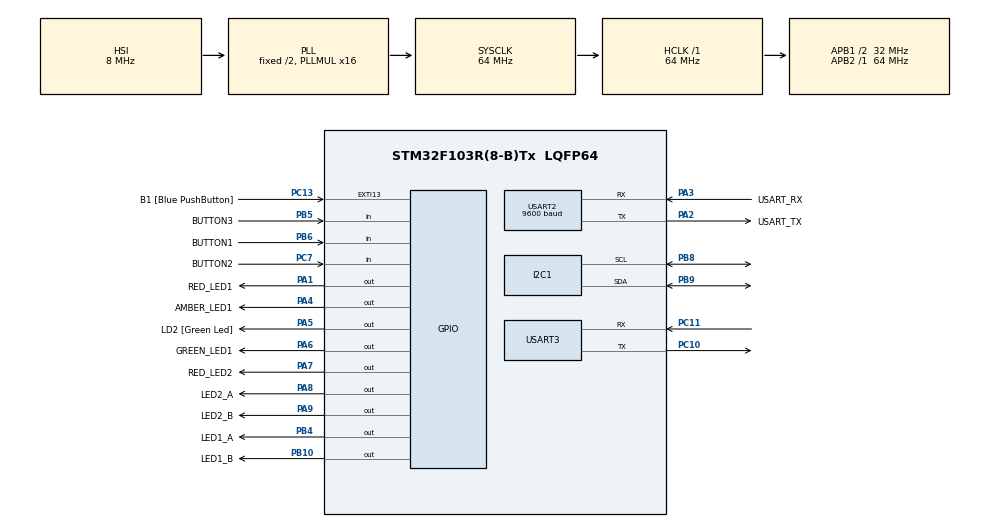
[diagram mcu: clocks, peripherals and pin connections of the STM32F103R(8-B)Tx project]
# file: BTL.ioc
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Mcu.Family=STM32F1
Mcu.Name=STM32F103R(8-B)Tx
Mcu.Package=LQFP64
NVIC.EXTI15_10_IRQn=true\:0\:0\:false\:false\:true\:true\:true
NVIC.PriorityGroup=NVIC_PRIORITYGROUP_4
NVIC.TIM2_IRQn=true\:0\:0\:false\:false\:true\:true\:true
NVIC.USART3_IRQn=true\:0\:0\:false\:false\:true\:true\:true
PA1.GPIO_Label=RED_LED1
PA1.Signal=GPIO_Output
PA13.GPIO_Label=TMS
PA13.Mode=Serial_Wire
PA13.Signal=SYS_JTMS-SWDIO
PA14.GPIO_Label=TCK
PA14.Mode=Serial_Wire
PA14.Signal=SYS_JTCK-SWCLK
PA2.GPIO_Label=USART_TX
PA2.GPIO_Mode=GPIO_MODE_AF_PP
PA2.GPIO_PuPd=GPIO_NOPULL
PA2.GPIO_Speed=GPIO_SPEED_FREQ_LOW
PA2.Mode=Asynchronous
PA2.Signal=USART2_TX
PA3.GPIO_Label=USART_RX
PA3.GPIO_Mode=GPIO_MODE_AF_PP
PA3.GPIO_PuPd=GPIO_NOPULL
PA3.GPIO_Speed=GPIO_SPEED_FREQ_LOW
PA3.Mode=Asynchronous
PA3.Signal=USART2_RX
PA4.GPIO_Label=AMBER_LED1
PA4.Signal=GPIO_Output
PA5.GPIO_Label=LD2 [Green Led]
PA5.GPIO_ModeDefaultOutputPP=GPIO_MODE_OUTPUT_PP
PA5.GPIO_PuPd=GPIO_NOPULL
PA5.GPIO_Speed=GPIO_SPEED_FREQ_LOW
PA5.Signal=GPIO_Output
PA6.GPIO_Label=GREEN_LED1
PA6.Signal=GPIO_Output
PA7.GPIO_Label=RED_LED2
PA7.Signal=GPIO_Output
PA8.GPIO_Label=LED2_A
PA8.Signal=GPIO_Output
PA9.GPIO_Label=LED2_B
PA9.Signal=GPIO_Output
PB10.GPIO_Label=LED1_B
PB10.Signal=GPIO_Output
PB3.GPIO_Label=SWO
PB3.Signal=SYS_JTDO-TRACESWO
PB4.GPIO_Label=LED1_A
PB4.Signal=GPIO_Output
PB5.GPIO_Label=BUTTON3
PB5.GPIO_PuPd=GPIO_PULLUP
PB5.Signal=GPIO_Input
PB6.GPIO_Label=BUTTON1
PB6.GPIO_PuPd=GPIO_PULLUP
PB6.Signal=GPIO_Input
PB8.Mode=I2C
PB8.Signal=I2C1_SCL
PB9.Mode=I2C
PB9.Signal=I2C1_SDA
PC10.Mode=Asynchronous
PC10.Signal=USART3_TX
PC11.Mode=Asynchronous
PC11.Signal=USART3_RX
PC13-TAMPER-RTC.GPIO_Label=B1 [Blue PushButton]
PC13-TAMPER-RTC.GPIO_PuPd=GPIO_NOPULL
PC13-TAMPER-RTC.Signal=GPXTI13
PC14-OSC32_IN.Mode=LSE-External-Oscillator
PC14-OSC32_IN.Signal=RCC_OSC32_IN
PC15-OSC32_OUT.Mode=LSE-External-Oscillator
PC15-OSC32_OUT.Signal=RCC_OSC32_OUT
PC7.GPIO_Label=BUTTON2
PC7.GPIO_PuPd=GPIO_PULLUP
PC7.Signal=GPIO_Input
PD0-OSC_IN.Mode=HSE-External-Oscillator
PD0-OSC_IN.Signal=RCC_OSC_IN
PD1-OSC_OUT.Mode=HSE-External-Oscillator
PD1-OSC_OUT.Signal=RCC_OSC_OUT
ProjectManager.HeapSize=0x200
ProjectManager.StackSize=0x400
ProjectManager.TargetToolchain=STM32CubeIDE
RCC.AHBFreq_Value=64000000
RCC.APB1CLKDivider=RCC_HCLK_DIV2
RCC.APB1Freq_Value=32000000
RCC.APB1TimFreq_Value=64000000
RCC.APB2Freq_Value=64000000
RCC.APB2TimFreq_Value=64000000
RCC.HCLKFreq_Value=64000000
RCC.PLLMUL=RCC_PLL_MUL16
RCC.RTCClockSelection=RCC_RTCCLKSOURCE_LSE
RCC.SYSCLKFreq_VALUE=64000000
RCC.SYSCLKSource=RCC_SYSCLKSOURCE_PLLCLK
RCC.USBFreq_Value=64000000
TIM2.Period=9
TIM2.Prescaler=7999
USART2.BaudRate=9600
USART2.VirtualMode=VM_ASYNC
USART3.VirtualMode=VM_ASYNC
VP_TIM2_VS_ClockSourceINT.Mode=Internal
board=NUCLEO-F103RB

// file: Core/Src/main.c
/* USER CODE BEGIN Header */
/**
  ******************************************************************************
  * @file           : main.c
  * @brief          : Main program body
  ******************************************************************************
  * @attention
  *
  * <h2><center>&copy; Copyright (c) 2024 STMicroelectronics.
  * All rights reserved.</center></h2>
  *
  * This software component is licensed by ST under BSD 3-Clause license,
  * the "License"; You may not use this file except in compliance with the
  * License. You may obtain a copy of the License at:
  *                        opensource.org/licenses/BSD-3-Clause
  *
  ******************************************************************************
  */
/* USER CODE END Header */
#include "main.h"

/* USER CODE BEGIN Includes */
#include "global.h"
#include "System_FSM.h"
#include "scheduler.h"
#include "i2c-lcd.h"
#include "software_timer.h"
#include "button.h"
#include "UartRingbuffer_multi.h"
#include "ESP8266_HAL.h"
/* USER CODE END Includes */

I2C_HandleTypeDef hi2c1;

TIM_HandleTypeDef htim2;

UART_HandleTypeDef huart2;
UART_HandleTypeDef huart3;

void SystemClock_Config(void);
static void MX_GPIO_Init(void);
static void MX_USART2_UART_Init(void);
static void MX_I2C1_Init(void);
static void MX_TIM2_Init(void);
static void MX_USART3_UART_Init(void);

/* USER CODE BEGIN 0 */
char buffer[5];
/* USER CODE END 0 */

int main(void)
{

  /* MCU Configuration--------------------------------------------------------*/

  /* Reset of all peripherals, Initializes the Flash interface and the Systick. */
  HAL_Init();

  /* Configure the system clock */
  SystemClock_Config();

  /* Initialize all configured peripherals */
  MX_GPIO_Init();
  MX_USART2_UART_Init();
  MX_I2C1_Init();
  MX_TIM2_Init();
  MX_USART3_UART_Init();
  /* USER CODE BEGIN 2 */
  ESP_Init("Beckhcmut", "12345678");
  HAL_TIM_Base_Start_IT(&htim2);
  lcd_init();
  lcd_clear_display();
  HAL_Delay(50);

  SCH_Init();
  SCH_Add_Task(fsm_traffic, 50, 1);
//  SCH_Add_Task(clock_counter_traffic_update, 0, 1);
  SCH_Add_Task(fsm_switch_mode, 50, 1);
  SCH_Add_Task(fsm_traffic_auto_mode(), 50, 1);
  SCH_Add_Task(fsm_traffic_tunning_mode(), 50, 1);

  /* USER CODE END 2 */

  /* Infinite loop */
  /* USER CODE BEGIN WHILE */
  while (1)
  {
fsm_traffic_auto_mode();
fsm_traffic_tunning_mode();
fsm_switch_mode();
fsm_traffic();
	  SCH_Dispatch_Tasks();
//	  if(isButtonShortPressed(0)){
//		  lcd_clear_display();
//		  HAL_Delay(100);
//		  lcd_goto_XY(1, 0);
//		  lcd_send_string("acbca");
//	  }
//	  if(isButtonLongPressed(0)){
//		  lcd_clear_display();
//		  HAL_Delay(100);
//		  lcd_goto_XY(1, 0);
//		  lcd_send_string("vxcvxbf");
//	  }

    /* USER CODE END WHILE */

    /* USER CODE BEGIN 3 */
Server_Start();
  }
  /* USER CODE END 3 */
}

void SystemClock_Config(void)
{
  RCC_OscInitTypeDef RCC_OscInitStruct = {0};
  RCC_ClkInitTypeDef RCC_ClkInitStruct = {0};

  /** Initializes the RCC Oscillators according to the specified parameters
  * in the RCC_OscInitTypeDef structure.
  */
  RCC_OscInitStruct.OscillatorType = RCC_OSCILLATORTYPE_HSI;
  RCC_OscInitStruct.HSIState = RCC_HSI_ON;
  RCC_OscInitStruct.HSICalibrationValue = RCC_HSICALIBRATION_DEFAULT;
  RCC_OscInitStruct.PLL.PLLState = RCC_PLL_ON;
  RCC_OscInitStruct.PLL.PLLSource = RCC_PLLSOURCE_HSI_DIV2;
  RCC_OscInitStruct.PLL.PLLMUL = RCC_PLL_MUL16;
  if (HAL_RCC_OscConfig(&RCC_OscInitStruct) != HAL_OK)
  {
    Error_Handler();
  }
  /** Initializes the CPU, AHB and APB buses clocks
  */
  RCC_ClkInitStruct.ClockType = RCC_CLOCKTYPE_HCLK|RCC_CLOCKTYPE_SYSCLK
                              |RCC_CLOCKTYPE_PCLK1|RCC_CLOCKTYPE_PCLK2;
  RCC_ClkInitStruct.SYSCLKSource = RCC_SYSCLKSOURCE_PLLCLK;
  RCC_ClkInitStruct.AHBCLKDivider = RCC_SYSCLK_DIV1;
  RCC_ClkInitStruct.APB1CLKDivider = RCC_HCLK_DIV2;
  RCC_ClkInitStruct.APB2CLKDivider = RCC_HCLK_DIV1;

  if (HAL_RCC_ClockConfig(&RCC_ClkInitStruct, FLASH_LATENCY_2) != HAL_OK)
  {
    Error_Handler();
  }
}

static void MX_I2C1_Init(void)
{

  hi2c1.Instance = I2C1;
  hi2c1.Init.ClockSpeed = 100000;
  hi2c1.Init.DutyCycle = I2C_DUTYCYCLE_2;
  hi2c1.Init.OwnAddress1 = 0;
  hi2c1.Init.AddressingMode = I2C_ADDRESSINGMODE_7BIT;
  hi2c1.Init.DualAddressMode = I2C_DUALADDRESS_DISABLE;
  hi2c1.Init.OwnAddress2 = 0;
  hi2c1.Init.GeneralCallMode = I2C_GENERALCALL_DISABLE;
  hi2c1.Init.NoStretchMode = I2C_NOSTRETCH_DISABLE;
  if (HAL_I2C_Init(&hi2c1) != HAL_OK)
  {
    Error_Handler();
  }

}

static void MX_TIM2_Init(void)
{

  TIM_ClockConfigTypeDef sClockSourceConfig = {0};
  TIM_MasterConfigTypeDef sMasterConfig = {0};

  htim2.Instance = TIM2;
  htim2.Init.Prescaler = 7999;
  htim2.Init.CounterMode = TIM_COUNTERMODE_UP;
  htim2.Init.Period = 9;
  htim2.Init.ClockDivision = TIM_CLOCKDIVISION_DIV1;
  htim2.Init.AutoReloadPreload = TIM_AUTORELOAD_PRELOAD_DISABLE;
  if (HAL_TIM_Base_Init(&htim2) != HAL_OK)
  {
    Error_Handler();
  }
  sClockSourceConfig.ClockSource = TIM_CLOCKSOURCE_INTERNAL;
  if (HAL_TIM_ConfigClockSource(&htim2, &sClockSourceConfig) != HAL_OK)
  {
    Error_Handler();
  }
  sMasterConfig.MasterOutputTrigger = TIM_TRGO_RESET;
  sMasterConfig.MasterSlaveMode = TIM_MASTERSLAVEMODE_DISABLE;
  if (HAL_TIMEx_MasterConfigSynchronization(&htim2, &sMasterConfig) != HAL_OK)
  {
    Error_Handler();
  }

}

static void MX_USART2_UART_Init(void)
{

  huart2.Instance = USART2;
  huart2.Init.BaudRate = 9600;
  huart2.Init.WordLength = UART_WORDLENGTH_8B;
  huart2.Init.StopBits = UART_STOPBITS_1;
  huart2.Init.Parity = UART_PARITY_NONE;
  huart2.Init.Mode = UART_MODE_TX_RX;
  huart2.Init.HwFlowCtl = UART_HWCONTROL_NONE;
  huart2.Init.OverSampling = UART_OVERSAMPLING_16;
  if (HAL_UART_Init(&huart2) != HAL_OK)
  {
    Error_Handler();
  }

}

static void MX_USART3_UART_Init(void)
{

  huart3.Instance = USART3;
  huart3.Init.BaudRate = 115200;
  huart3.Init.WordLength = UART_WORDLENGTH_8B;
  huart3.Init.StopBits = UART_STOPBITS_1;
  huart3.Init.Parity = UART_PARITY_NONE;
  huart3.Init.Mode = UART_MODE_TX_RX;
  huart3.Init.HwFlowCtl = UART_HWCONTROL_NONE;
  huart3.Init.OverSampling = UART_OVERSAMPLING_16;
  if (HAL_UART_Init(&huart3) != HAL_OK)
  {
    Error_Handler();
  }

}

static void MX_GPIO_Init(void)
{
  GPIO_InitTypeDef GPIO_InitStruct = {0};

  /* GPIO Ports Clock Enable */
  __HAL_RCC_GPIOC_CLK_ENABLE();
  __HAL_RCC_GPIOD_CLK_ENABLE();
  __HAL_RCC_GPIOA_CLK_ENABLE();
  __HAL_RCC_GPIOB_CLK_ENABLE();

  /*Configure GPIO pin Output Level */
  HAL_GPIO_WritePin(GPIOA, RED_LED1_Pin|AMBER_LED1_Pin|LD2_Pin|GREEN_LED1_Pin
                          |RED_LED2_Pin|LED2_A_Pin|LED2_B_Pin, GPIO_PIN_RESET);

  /*Configure GPIO pin Output Level */
  HAL_GPIO_WritePin(GPIOB, LED1_B_Pin|LED1_A_Pin, GPIO_PIN_RESET);

  /*Configure GPIO pin : B1_Pin */
  GPIO_InitStruct.Pin = B1_Pin;
  GPIO_InitStruct.Mode = GPIO_MODE_IT_RISING;
  GPIO_InitStruct.Pull = GPIO_NOPULL;
  HAL_GPIO_Init(B1_GPIO_Port, &GPIO_InitStruct);

  /*Configure GPIO pins : RED_LED1_Pin AMBER_LED1_Pin LD2_Pin GREEN_LED1_Pin
                           RED_LED2_Pin LED2_A_Pin LED2_B_Pin */
  GPIO_InitStruct.Pin = RED_LED1_Pin|AMBER_LED1_Pin|LD2_Pin|GREEN_LED1_Pin
                          |RED_LED2_Pin|LED2_A_Pin|LED2_B_Pin;
  GPIO_InitStruct.Mode = GPIO_MODE_OUTPUT_PP;
  GPIO_InitStruct.Pull = GPIO_NOPULL;
  GPIO_InitStruct.Speed = GPIO_SPEED_FREQ_LOW;
  HAL_GPIO_Init(GPIOA, &GPIO_InitStruct);

  /*Configure GPIO pins : LED1_B_Pin LED1_A_Pin */
  GPIO_InitStruct.Pin = LED1_B_Pin|LED1_A_Pin;
  GPIO_InitStruct.Mode = GPIO_MODE_OUTPUT_PP;
  GPIO_InitStruct.Pull = GPIO_NOPULL;
  GPIO_InitStruct.Speed = GPIO_SPEED_FREQ_LOW;
  HAL_GPIO_Init(GPIOB, &GPIO_InitStruct);

  /*Configure GPIO pin : BUTTON2_Pin */
  GPIO_InitStruct.Pin = BUTTON2_Pin;
  GPIO_InitStruct.Mode = GPIO_MODE_INPUT;
  GPIO_InitStruct.Pull = GPIO_PULLUP;
  HAL_GPIO_Init(BUTTON2_GPIO_Port, &GPIO_InitStruct);

  /*Configure GPIO pins : BUTTON3_Pin BUTTON1_Pin */
  GPIO_InitStruct.Pin = BUTTON3_Pin|BUTTON1_Pin;
  GPIO_InitStruct.Mode = GPIO_MODE_INPUT;
  GPIO_InitStruct.Pull = GPIO_PULLUP;
  HAL_GPIO_Init(GPIOB, &GPIO_InitStruct);

  /* EXTI interrupt init*/
  HAL_NVIC_SetPriority(EXTI15_10_IRQn, 0, 0);
  HAL_NVIC_EnableIRQ(EXTI15_10_IRQn);

}

/* USER CODE BEGIN 4 */
void HAL_TIM_PeriodElapsedCallback(TIM_HandleTypeDef *htim)
{
  if (htim->Instance == TIM2) {
    timerRun(); // G�?i hàm cập nhật bộ đếm th�?i gian của bạn
  }
  getKeyInput();
}
/* USER CODE END 4 */

void Error_Handler(void)
{
  __disable_irq();
  while (1)
  {
  }
}

/************************ (C) COPYRIGHT STMicroelectronics *****END OF FILE****/
